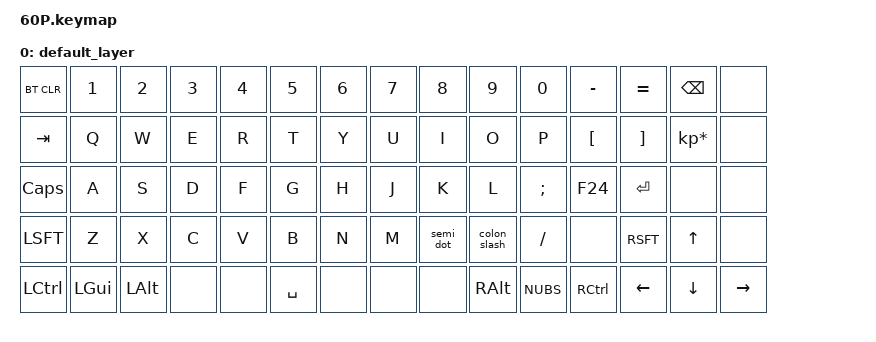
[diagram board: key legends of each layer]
#include <behaviors.dtsi>
#include <dt-bindings/zmk/keys.h>
#include <dt-bindings/zmk/bt.h>
#include "mod-morph.dtsi"


/ {
    keymap {
        compatible = "zmk,keymap";

        default_layer {
            // ---------------------------------------------------------------------------------------------------------------------------------
            // | Echap |   &   |   é   |   "   |   '   |   (   |   -   |   è   |   _   |   ç   |   à   |   )   |   =   |  ⌫  |
            // |  Tab  |   a   |   z   |   e   |   r   |   t   |   y   |   u   |   i   |   o   |   p   |   ^   |   $   |  µ  |
            // | Caps  |   Q   |   S   |   D   |   F   |   G   |   H   |   J   |   K   |   L   |   M   |   %   | Enter |      |
            // | Shift |   W   |   X   |   C   |   V   |   B   |   N   |   ?   |   ;   |   :   |   !   | Shift |  ↑    |      |
            // ---------------------------------------------------------------------------------------------------------------------------------
            bindings = <
                &bt BT_CLR     &kp N1     &kp N2     &kp N3     &kp N4     &kp N5     &kp N6     &kp N7     &kp N8     &kp N9           &kp N0     &kp MINUS     &kp EQUAL    &kp BSPC          &none
                &kp TAB     &kp Q      &kp W      &kp E      &kp R      &kp T      &kp Y      &kp U      &kp I      &kp O            &kp P      &kp LBKT      &kp RBKT     &kp KP_MULTIPLY   &none
                &kp CAPS    &kp A      &kp S      &kp D      &kp F      &kp G      &kp H      &kp J      &kp K      &kp L            &kp SEMI   &kp F24       &kp ENTER    &none             &none
                &kp LSFT    &kp Z      &kp X      &kp C      &kp V      &kp B      &kp N      &kp M      &semi_dot  &colon_slash     &kp SLASH  &none         &kp RSFT     &kp UP            &none
                &kp LCTRL   &kp LGUI   &kp LALT   &none      &none      &kp SPACE  &none      &none      &none      &kp RALT         &kp NUBS   &kp RCTRL     &kp LEFT     &kp DOWN          &kp RIGHT
            >;
        };
    };
 };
